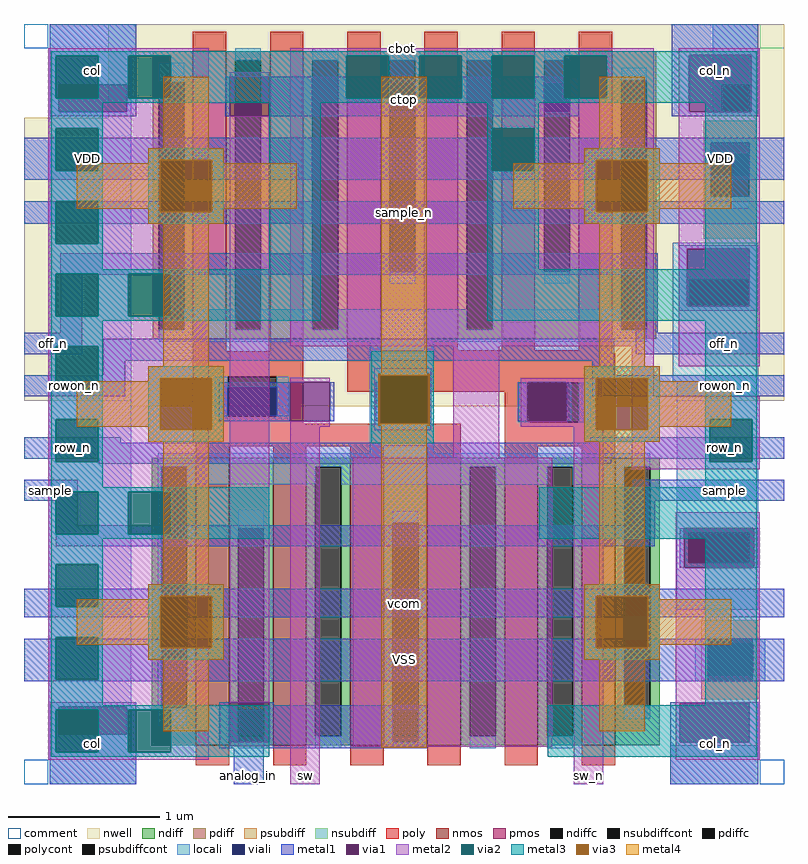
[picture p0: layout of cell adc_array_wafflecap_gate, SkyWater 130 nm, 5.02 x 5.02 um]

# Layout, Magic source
magic
tech sky130A
magscale 1 2
<< nwell >>
rect 111 880 1004 1004
rect 0 506 1004 880
rect 141 499 859 506
<< nmos >>
rect 227 51 271 431
rect 329 51 373 431
rect 431 51 475 431
rect 533 51 577 431
rect 635 51 679 431
rect 737 51 781 431
<< pmos >>
rect 223 588 267 968
rect 325 588 369 968
rect 427 588 471 968
rect 529 588 573 968
rect 631 588 675 968
rect 733 588 777 968
<< ndiff >>
rect 169 419 227 431
rect 169 100 181 419
rect 215 100 227 419
rect 169 51 227 100
rect 271 338 329 431
rect 271 63 283 338
rect 317 63 329 338
rect 271 51 329 63
rect 373 419 431 431
rect 373 63 385 419
rect 419 63 431 419
rect 373 51 431 63
rect 475 345 533 431
rect 475 63 487 345
rect 521 63 533 345
rect 475 51 533 63
rect 577 419 635 431
rect 577 63 589 419
rect 623 63 635 419
rect 577 51 635 63
rect 679 419 737 431
rect 679 63 691 419
rect 725 63 737 419
rect 679 51 737 63
rect 781 419 840 431
rect 781 103 793 419
rect 827 103 840 419
rect 781 51 840 103
<< pdiff >>
rect 170 928 223 968
rect 170 600 178 928
rect 212 600 223 928
rect 170 588 223 600
rect 267 956 325 968
rect 267 600 279 956
rect 313 600 325 956
rect 267 588 325 600
rect 369 956 427 968
rect 369 600 381 956
rect 415 600 427 956
rect 369 588 427 600
rect 471 956 529 968
rect 471 677 483 956
rect 517 677 529 956
rect 471 588 529 677
rect 573 956 631 968
rect 573 600 585 956
rect 619 600 631 956
rect 573 588 631 600
rect 675 956 733 968
rect 675 677 687 956
rect 721 677 733 956
rect 675 588 733 677
rect 777 930 835 968
rect 777 600 789 930
rect 823 600 835 930
rect 777 588 835 600
<< ndiffc >>
rect 181 100 215 419
rect 283 63 317 338
rect 385 63 419 419
rect 487 63 521 345
rect 589 63 623 419
rect 691 63 725 419
rect 793 103 827 419
<< pdiffc >>
rect 178 600 212 928
rect 279 600 313 956
rect 381 600 415 956
rect 483 677 517 956
rect 585 600 619 956
rect 687 677 721 956
rect 789 600 823 930
<< psubdiff >>
rect 895 192 970 216
rect 895 136 903 192
rect 963 136 970 192
rect 895 112 970 136
<< nsubdiff >>
rect 898 832 967 876
rect 898 776 907 832
rect 958 776 967 832
rect 898 720 967 776
<< psubdiffcont >>
rect 903 136 963 192
<< nsubdiffcont >>
rect 907 776 958 832
<< poly >>
rect 223 968 267 994
rect 325 968 369 994
rect 427 968 471 994
rect 529 968 573 994
rect 631 968 675 994
rect 733 968 777 994
rect 223 572 267 588
rect 325 572 369 588
rect 223 538 369 572
rect 223 486 269 538
rect 334 486 369 538
rect 427 573 471 588
rect 529 573 573 588
rect 631 573 675 588
rect 733 573 777 588
rect 427 569 777 573
rect 427 530 781 569
rect 427 518 668 530
rect 223 476 369 486
rect 635 478 668 518
rect 733 478 781 530
rect 223 450 577 476
rect 227 446 577 450
rect 227 431 271 446
rect 329 431 373 446
rect 431 431 475 446
rect 533 431 577 446
rect 635 446 781 478
rect 635 431 679 446
rect 737 431 781 446
rect 227 25 271 51
rect 329 25 373 51
rect 431 25 475 51
rect 533 25 577 51
rect 635 25 679 51
rect 737 25 781 51
<< polycont >>
rect 269 486 334 538
rect 668 478 733 530
<< locali >>
rect 34 970 148 1004
rect 34 924 142 970
rect 279 956 313 972
rect 34 888 46 924
rect 136 888 142 924
rect 34 102 142 888
rect 178 928 212 953
rect 212 600 279 627
rect 381 956 415 972
rect 313 600 381 627
rect 483 956 517 972
rect 483 661 517 677
rect 585 956 619 972
rect 415 600 585 627
rect 687 956 721 972
rect 687 661 721 677
rect 789 930 823 946
rect 619 600 789 627
rect 910 924 970 1004
rect 910 888 922 924
rect 958 888 970 924
rect 910 882 970 888
rect 907 847 958 848
rect 907 760 958 776
rect 178 584 823 600
rect 857 667 970 715
rect 857 631 879 667
rect 958 631 970 667
rect 252 486 269 538
rect 334 486 350 538
rect 457 525 541 584
rect 857 531 970 631
rect 457 485 477 525
rect 523 485 541 525
rect 457 437 541 485
rect 652 525 668 530
rect 652 488 665 525
rect 652 478 668 488
rect 733 478 749 530
rect 34 66 46 102
rect 136 66 142 102
rect 177 419 827 437
rect 177 100 181 419
rect 215 396 385 419
rect 177 76 215 100
rect 283 338 317 362
rect 34 34 142 66
rect 283 47 317 56
rect 419 395 589 419
rect 385 47 419 63
rect 487 345 521 361
rect 487 47 521 56
rect 623 395 691 419
rect 589 47 623 63
rect 725 395 793 419
rect 792 103 793 395
rect 862 332 970 531
rect 862 292 878 332
rect 958 292 970 332
rect 862 230 970 292
rect 887 136 903 192
rect 963 136 979 192
rect 792 86 827 103
rect 691 47 725 63
rect 34 0 148 34
rect 854 0 970 51
<< viali >>
rect 46 888 136 924
rect 483 889 517 927
rect 687 888 721 926
rect 922 888 958 924
rect 907 832 958 847
rect 907 804 958 832
rect 879 631 958 667
rect 269 487 334 524
rect 477 485 523 525
rect 665 488 668 525
rect 668 488 708 525
rect 46 66 136 102
rect 283 63 317 98
rect 283 56 317 63
rect 487 63 521 98
rect 487 56 521 63
rect 878 292 958 332
rect 903 143 963 185
<< metal1 >>
rect 34 924 148 1004
rect 856 963 970 1004
rect 34 888 46 924
rect 136 888 148 924
rect 34 882 148 888
rect 266 882 272 934
rect 324 927 733 934
rect 324 889 483 927
rect 517 926 733 927
rect 517 889 687 926
rect 324 888 687 889
rect 721 888 733 926
rect 324 882 733 888
rect 856 888 879 963
rect 961 888 970 963
rect 856 882 970 888
rect 0 847 1004 854
rect 0 804 907 847
rect 958 804 1004 847
rect 0 798 1004 804
rect 0 740 1004 770
rect 865 707 970 712
rect 48 673 837 701
rect 48 596 77 673
rect 0 568 77 596
rect 808 596 837 673
rect 865 632 876 707
rect 865 631 879 632
rect 958 631 970 707
rect 865 625 970 631
rect 105 559 780 588
rect 808 568 1004 596
rect 105 540 134 559
rect 0 512 134 540
rect 751 540 780 559
rect 257 524 352 531
rect 257 487 269 524
rect 334 487 352 524
rect 257 479 352 487
rect 404 479 410 531
rect 465 479 474 531
rect 526 479 535 531
rect 653 479 665 531
rect 717 479 723 531
rect 751 512 1004 540
rect 0 451 128 458
rect 748 451 1004 458
rect 0 430 1004 451
rect 99 423 776 430
rect 0 374 71 402
rect 42 342 71 374
rect 804 374 1004 402
rect 804 342 833 374
rect 42 314 833 342
rect 866 286 872 338
rect 964 286 970 338
rect 0 220 1004 258
rect 0 185 1004 192
rect 0 143 903 185
rect 963 143 1004 185
rect 0 136 1004 143
rect 34 102 148 108
rect 34 66 46 102
rect 136 66 148 102
rect 34 0 148 66
rect 258 56 272 108
rect 324 104 330 108
rect 854 107 970 108
rect 324 98 533 104
rect 324 56 487 98
rect 521 56 533 98
rect 258 47 533 56
rect 854 55 866 107
rect 958 55 970 107
rect 277 0 317 47
rect 854 0 970 55
<< via1 >>
rect 272 882 324 934
rect 879 924 961 963
rect 879 888 922 924
rect 922 888 958 924
rect 958 888 961 924
rect 876 667 958 707
rect 876 632 879 667
rect 879 632 958 667
rect 352 479 404 531
rect 474 525 526 531
rect 474 485 477 525
rect 477 485 523 525
rect 523 485 526 525
rect 474 479 526 485
rect 665 525 717 531
rect 665 488 708 525
rect 708 488 717 525
rect 665 479 717 488
rect 872 332 964 338
rect 872 292 878 332
rect 878 292 958 332
rect 958 292 964 332
rect 872 286 964 292
rect 272 98 324 108
rect 272 56 283 98
rect 283 56 317 98
rect 317 56 324 98
rect 866 55 958 107
<< metal2 >>
rect 32 962 244 972
rect 32 906 42 962
rect 98 906 138 962
rect 194 906 244 962
rect 352 962 832 972
rect 32 866 244 906
rect 32 810 42 866
rect 98 810 244 866
rect 32 770 244 810
rect 32 714 42 770
rect 98 714 244 770
rect 32 674 244 714
rect 32 618 42 674
rect 98 618 138 674
rect 194 618 244 674
rect 32 578 244 618
rect 32 522 42 578
rect 98 522 244 578
rect 32 482 244 522
rect 32 426 42 482
rect 98 426 244 482
rect 32 386 244 426
rect 32 330 42 386
rect 98 330 138 386
rect 194 330 244 386
rect 32 290 244 330
rect 32 234 42 290
rect 98 234 244 290
rect 32 194 244 234
rect 32 138 42 194
rect 98 138 244 194
rect 32 98 244 138
rect 32 42 42 98
rect 98 42 138 98
rect 194 42 244 98
rect 272 934 324 940
rect 272 108 324 882
rect 352 906 426 962
rect 482 906 522 962
rect 578 906 618 962
rect 674 906 714 962
rect 770 906 832 962
rect 352 866 832 906
rect 352 810 618 866
rect 674 810 832 866
rect 352 578 832 810
rect 463 540 538 549
rect 272 50 324 56
rect 352 531 404 537
rect 352 472 404 479
rect 463 476 470 540
rect 534 476 538 540
rect 32 32 244 42
rect 352 0 391 472
rect 463 467 538 476
rect 567 431 628 578
rect 656 531 765 536
rect 656 479 665 531
rect 717 479 765 531
rect 656 472 765 479
rect 434 49 698 431
rect 726 0 765 472
rect 803 513 832 578
rect 865 963 972 972
rect 865 888 879 963
rect 961 888 972 963
rect 865 707 972 888
rect 865 632 876 707
rect 958 632 972 707
rect 865 552 972 632
rect 803 512 833 513
rect 803 482 972 512
rect 803 426 906 482
rect 962 426 972 482
rect 803 416 972 426
rect 861 338 972 359
rect 861 286 872 338
rect 964 286 972 338
rect 861 107 972 286
rect 861 55 866 107
rect 958 55 972 107
rect 861 32 972 55
<< via2 >>
rect 42 906 98 962
rect 138 906 194 962
rect 42 810 98 866
rect 42 714 98 770
rect 42 618 98 674
rect 138 618 194 674
rect 42 522 98 578
rect 42 426 98 482
rect 42 330 98 386
rect 138 330 194 386
rect 42 234 98 290
rect 42 138 98 194
rect 42 42 98 98
rect 138 42 194 98
rect 426 906 482 962
rect 522 906 578 962
rect 618 906 674 962
rect 714 906 770 962
rect 618 810 674 866
rect 470 531 534 540
rect 470 479 474 531
rect 474 479 526 531
rect 526 479 534 531
rect 470 476 534 479
rect 906 426 962 482
<< metal3 >>
rect 36 962 968 968
rect 36 906 42 962
rect 98 906 138 962
rect 194 906 426 962
rect 482 906 522 962
rect 578 906 618 962
rect 674 906 714 962
rect 770 906 968 962
rect 36 900 968 906
rect 36 866 104 900
rect 36 810 42 866
rect 98 810 104 866
rect 36 770 104 810
rect 36 714 42 770
rect 98 714 104 770
rect 164 824 264 840
rect 164 756 180 824
rect 248 756 264 824
rect 164 740 264 756
rect 36 680 104 714
rect 324 680 392 900
rect 36 674 392 680
rect 36 618 42 674
rect 98 618 138 674
rect 194 618 392 674
rect 36 612 392 618
rect 612 866 680 900
rect 612 810 618 866
rect 674 810 680 866
rect 612 680 680 810
rect 740 824 840 840
rect 740 756 756 824
rect 824 756 840 824
rect 740 740 840 756
rect 900 680 968 900
rect 612 612 968 680
rect 36 578 104 612
rect 36 522 42 578
rect 98 522 104 578
rect 36 482 104 522
rect 36 426 42 482
rect 98 426 104 482
rect 164 536 264 552
rect 164 468 180 536
rect 248 468 264 536
rect 164 452 264 468
rect 459 540 541 572
rect 459 476 470 540
rect 534 476 541 540
rect 459 450 541 476
rect 740 536 840 552
rect 740 468 756 536
rect 824 468 840 536
rect 740 452 840 468
rect 900 482 968 612
rect 36 392 104 426
rect 900 426 906 482
rect 962 426 968 482
rect 900 392 968 426
rect 36 386 324 392
rect 36 330 42 386
rect 98 330 138 386
rect 194 330 324 386
rect 36 324 324 330
rect 681 324 968 392
rect 36 290 104 324
rect 36 234 42 290
rect 98 234 104 290
rect 36 194 104 234
rect 36 138 42 194
rect 98 138 104 194
rect 164 248 264 264
rect 164 180 180 248
rect 248 180 264 248
rect 164 164 264 180
rect 740 248 840 264
rect 740 180 756 248
rect 824 180 840 248
rect 740 164 840 180
rect 36 104 104 138
rect 900 104 968 324
rect 36 98 324 104
rect 36 42 42 98
rect 98 42 138 98
rect 194 42 324 98
rect 36 36 324 42
rect 692 36 968 104
<< via3 >>
rect 180 756 248 824
rect 756 756 824 824
rect 180 468 248 536
rect 470 476 534 540
rect 756 468 824 536
rect 180 180 248 248
rect 756 180 824 248
<< metal4 >>
rect 184 840 244 934
rect 164 824 264 840
rect 164 820 180 824
rect 70 760 180 820
rect 164 756 180 760
rect 248 820 264 824
rect 248 760 360 820
rect 248 756 264 760
rect 164 740 264 756
rect 184 552 244 740
rect 164 536 264 552
rect 472 542 532 934
rect 760 840 820 934
rect 740 824 840 840
rect 740 820 756 824
rect 646 760 756 820
rect 740 756 756 760
rect 824 820 840 824
rect 824 760 934 820
rect 824 756 840 760
rect 740 740 840 756
rect 760 552 820 740
rect 164 532 180 536
rect 70 472 180 532
rect 164 468 180 472
rect 248 468 264 536
rect 468 540 536 542
rect 468 476 470 540
rect 534 476 536 540
rect 468 473 536 476
rect 740 536 840 552
rect 164 452 264 468
rect 184 264 244 452
rect 164 248 264 264
rect 164 244 180 248
rect 70 184 180 244
rect 164 180 180 184
rect 248 180 264 248
rect 164 164 264 180
rect 184 70 244 164
rect 472 48 532 473
rect 740 468 756 536
rect 824 532 840 536
rect 824 472 934 532
rect 824 468 840 472
rect 740 452 840 468
rect 760 264 820 452
rect 740 248 840 264
rect 740 180 756 248
rect 824 244 840 248
rect 824 184 934 244
rect 824 180 840 184
rect 740 164 840 180
rect 760 70 820 164
<< comment >>
rect 0 972 32 1004
rect 972 972 1004 1004
rect 0 0 32 32
rect 972 0 1004 32
<< labels >>
flabel metal1 0 798 167 854 0 FreeSans 160 0 0 0 VDD
port 1 w power bidirectional
flabel metal1 837 798 1004 854 0 FreeSans 160 0 0 0 VDD
port 1 e power bidirectional
flabel metal1 0 136 1004 192 0 FreeSans 320 0 0 0 VSS
port 2 nsew ground bidirectional
flabel metal1 0 220 1004 258 0 FreeSans 320 0 0 0 vcom
port 3 nsew
flabel metal4 472 874 532 934 1 FreeSans 160 0 0 0 ctop
port 4 n
flabel metal1 34 0 148 108 5 FreeSans 320 0 0 0 col
port 5 s
flabel metal1 34 882 148 1004 1 FreeSans 320 0 0 0 col
port 5 n
flabel metal1 856 0 970 108 1 FreeSans 320 0 0 0 col_n
port 6 s
flabel metal1 856 882 970 1004 1 FreeSans 320 0 0 0 col_n
port 6 n
flabel metal1 0 430 128 458 0 FreeSans 160 0 0 0 row_n
port 7 w
flabel metal1 846 430 1004 458 0 FreeSans 160 0 0 0 row_n
port 7 e
flabel metal1 0 512 134 540 0 FreeSans 160 0 0 0 rowon_n
port 8 w
flabel metal1 849 512 1004 540 0 FreeSans 160 0 0 0 rowon_n
port 8 e
flabel metal1 0 374 71 402 0 FreeSans 160 0 0 0 sample
port 9 w
flabel metal1 846 374 1004 402 0 FreeSans 160 0 0 0 sample
port 9 e
flabel metal1 0 740 1004 770 0 FreeSans 160 0 0 0 sample_n
port 10 nsew
flabel metal1 0 568 77 596 7 FreeSans 160 0 0 0 off_n
port 11 w
flabel metal1 848 568 1004 596 3 FreeSans 160 0 0 0 off_n
port 11 e
rlabel metal2 500 972 500 972 1 cbot
flabel metal1 277 0 317 22 0 FreeSans 64 0 0 0 analog_in
port 16 nsew
flabel metal2 726 0 765 23 0 FreeSans 80 0 0 0 sw_n
port 19 nsew
flabel metal2 352 0 391 23 0 FreeSans 80 0 0 0 sw
port 17 nsew
<< end >>
